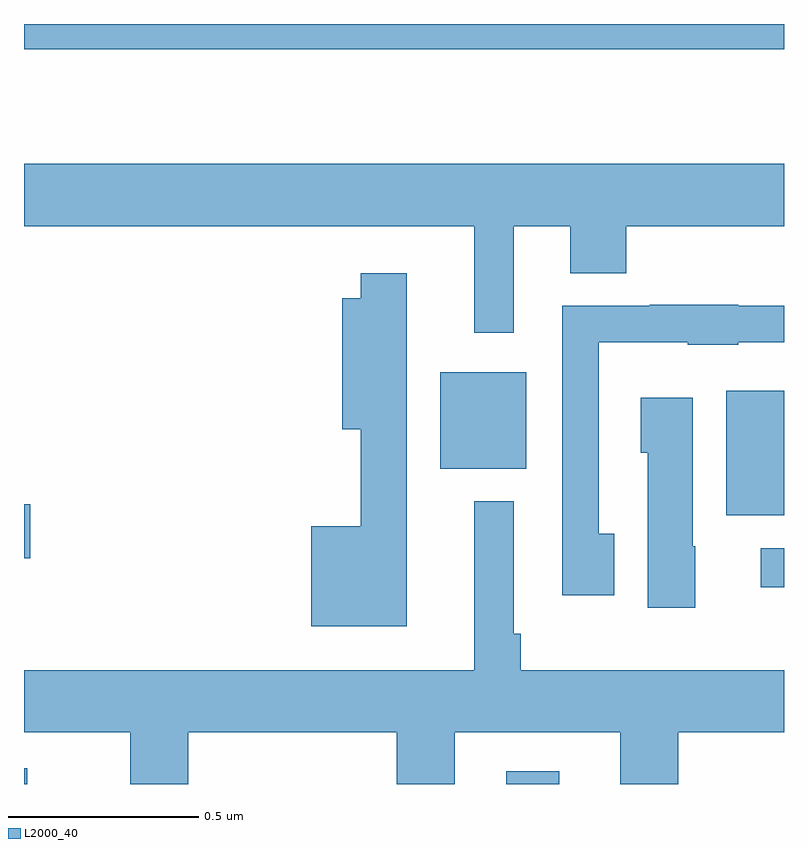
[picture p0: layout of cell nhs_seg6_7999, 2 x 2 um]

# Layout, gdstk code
import gdstk
lib = gdstk.Library(unit=1e-6, precision=1e-09)
def R(c, l, rs):  # rectangles x0, y0, x1, y1
    for r in rs: c.add(gdstk.rectangle(r[:2], r[2:], *l))
def P(c, l, *ps):  # polygons
    for p in ps: c.add(gdstk.Polygon(p, *l))
L2000_40 = (2000, 40)

nhs_seg6_7999 = lib.new_cell('nhs_seg6_7999')
R(nhs_seg6_7999, L2000_40, [(215,980.5,215.008,980.542), (216.269,980.5,216.409,980.533), (216.939,981.018,217,981.12), (215,981.094,215.017,981.236), (216.848,981.207,217,981.535), (216.095,981.329,216.322,981.583), (215,982.434,217,982.5)])
P(nhs_seg6_7999, L2000_40, [(216.289,981.968),(216.437,981.968),(216.437,981.844),(216.585,981.844),(216.585,981.968),(217,981.968),(217,982.132),(215,982.132),(215,981.968),(216.185,981.968),(216.185,981.687),(216.289,981.687)],
  [(216.007,981.844),(215.886,981.844),(215.886,981.778),(215.837,981.778),(215.837,981.434),(215.886,981.434),(215.886,981.178),(215.756,981.178),(215.756,980.915),(216.007,980.915)],
  [(216.553,981.158),(216.513,981.158),(216.513,981.662),(216.747,981.662),(216.747,981.656),(216.879,981.656),(216.879,981.663),(217,981.663),(217,981.759),(216.879,981.759),(216.879,981.761),(216.647,981.761),(216.647,981.759),(216.417,981.759),(216.417,980.997),(216.553,980.997)],
  [(216.766,981.126),(216.76,981.126),(216.76,981.517),(216.623,981.517),(216.623,981.372),(216.641,981.372),(216.641,980.964),(216.766,980.964)],
  [(215.432,980.636),(215.981,980.636),(215.981,980.5),(216.133,980.5),(216.133,980.636),(216.569,980.636),(216.569,980.5),(216.722,980.5),(216.722,980.636),(217,980.636),(217,980.8),(216.307,980.8),(216.307,980.896),(216.289,980.896),(216.289,981.244),(216.185,981.244),(216.185,980.8),(215,980.8),(215,980.636),(215.279,980.636),(215.279,980.5),(215.432,980.5)])

lib.write_gds('nhs_seg6_7999.gds')
